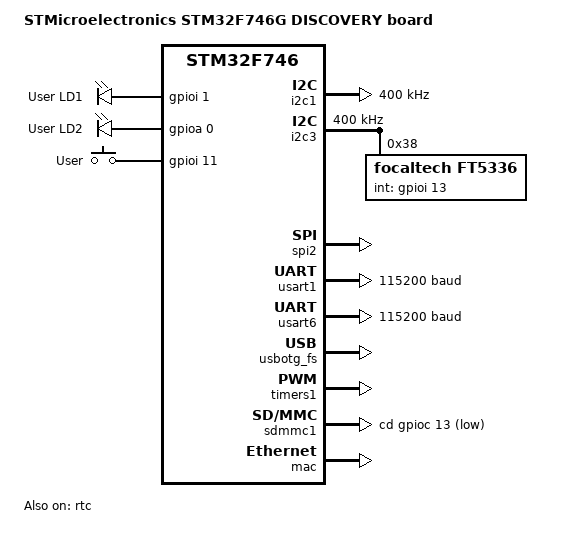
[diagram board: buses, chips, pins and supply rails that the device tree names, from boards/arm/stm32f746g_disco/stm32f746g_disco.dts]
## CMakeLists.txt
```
# SPDX-License-Identifier: Apache-2.0

# set (BOARD nucleo_h743zi)
cmake_minimum_required(VERSION 3.13.1)
find_package(Zephyr HINTS $ENV{ZEPHYR_BASE})
project(cpp_synchronization)

target_sources(app PRIVATE 
    src/main.c
    # src/dhcp.c
)
```

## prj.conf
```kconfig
CONFIG_I2C=y
# CONFIG_NET_IPV6 is not set
CONFIG_GPIO=y
CONFIG_INIT_STACKS=y
CONFIG_CONSOLE=y
CONFIG_UART_CONSOLE=y
CONFIG_PINMUX=y
CONFIG_VIDEO=y
CONFIG_VIDEO_BUFFER_POOL_SZ_MAX=38400
CONFIG_VIDEO_SW_GENERATOR=y
CONFIG_NEWLIB_LIBC=y
CONFIG_CPLUSPLUS=y
CONFIG_STD_CPP17=y
CONFIG_BOOT_TIME_MEASUREMENT=y
CONFIG_STATS=y
CONFIG_NETWORKING=n
CONFIG_NET_HOSTNAME_ENABLE=y
CONFIG_NET_HOSTNAME="zephyr-iwasz"
CONFIG_NET_IPV4=y
# CONFIG_NET_DHCPV4=y
CONFIG_NET_SHELL=y
CONFIG_NET_TCP=y
CONFIG_NET_TCP_AUTO_ACCEPT=y
CONFIG_NET_MGMT=y
CONFIG_NET_MGMT_EVENT=y
CONFIG_NET_LOG=y
# CONFIG_DNS_RESOLVER=y
# CONFIG_MDNS_RESOLVER=y
# CONFIG_DNS_RESOLVER_ADDITIONAL_BUF_CTR=5
# CONFIG_DNS_RESOLVER_ADDITIONAL_QUERIES=2
# CONFIG_DNS_RESOLVER_MAX_SERVERS=2
# CONFIG_DNS_SERVER_IP_ADDRESSES=y
# CONFIG_DNS_SERVER1="8.8.8.8"
# CONFIG_DNS_SERVER2="8.8.4.4"
# CONFIG_DNS_NUM_CONCUR_QUERIES=5
# CONFIG_MQTT_LIB=y
CONFIG_KERNEL_SHELL=y
CONFIG_DEVICE_SHELL=y
CONFIG_TEST_RANDOM_GENERATOR=y
# CONFIG_NET_BUF_RX_COUNT=16
# CONFIG_NET_BUF_TX_COUNT=512
# CONFIG_NET_BUF_DATA_SIZE=128

CONFIG_NET_SOCKETS=y
CONFIG_NET_SOCKETS_POSIX_NAMES=y
CONFIG_NET_CONFIG_SETTINGS=y
CONFIG_NET_CONFIG_MY_IPV4_ADDR="192.168.0.33"
CONFIG_DEBUG_OPTIMIZATIONS=y

#  TODO Try
CONFIG_MAIN_STACK_SIZE=2048
CONFIG_NET_CONTEXT_NET_PKT_POOL=y


# CONFIG_NET_IPV4_LOG_LEVEL_DBG=y
# CONFIG_ETHERNET_LOG_LEVEL_DBG=y
# CONFIG_KERNEL_LOG_LEVEL_DBG=y
# CONFIG_NET_BUF_LOG_LEVEL_DBG=y
# CONFIG_NET_L2_ETHERNET_LOG_LEVEL_DBG=y
# CONFIG_NET_ARP_LOG_LEVEL_DBG=y
# CONFIG_NET_TCP_LOG_LEVEL_DBG=y

# CONFIG_NET_PKT_LOG_LEVEL_DBG=n
# # CONFIG_NET_DEBUG_NET_PKT_ALLOC is not set
# CONFIG_NET_CORE_LOG_LEVEL_DBG=y
# CONFIG_NET_IF_LOG_LEVEL_DBG=y
# CONFIG_NET_CONTEXT_LOG_LEVEL_DBG=y
# CONFIG_NET_CONN_LOG_LEVEL_DBG=y
# CONFIG_NET_ROUTE_LOG_LEVEL_DBG=y

# CONFIG_NET_CONFIG_LOG_LEVEL_DBG=y
# CONFIG_NET_SOCKETS_LOG_LEVEL_DBG=y
```

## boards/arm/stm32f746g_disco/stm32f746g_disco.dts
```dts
/*
 * Copyright (c) 2018 Yurii Hamann
 *
 * SPDX-License-Identifier: Apache-2.0
 */

/dts-v1/;
#include <st/f7/stm32f746Xg.dtsi>
#include "arduino_r3_connector.dtsi"

/ {
	model = "STMicroelectronics STM32F746G DISCOVERY board";
	compatible = "st,stm32f746g-disco", "st,stm32f746";

	chosen {
		zephyr,console = &usart1;
		zephyr,shell-uart = &usart1;
		zephyr,sram = &sram0;
		zephyr,flash = &flash0;
		zephyr,dtcm = &dtcm;
	};

	leds {
		compatible = "gpio-leds";
		
		green_led_1: led_1 {
			gpios = <&gpioi 1 GPIO_ACTIVE_HIGH>;
			label = "User LD1";
		};

		red_led_1: led_2 {
			gpios = <&gpioa 0 GPIO_ACTIVE_HIGH>;
			label = "User LD2";
		};
	};

	gpio_keys {
		compatible = "gpio-keys";
		user_button: button {
			label = "User";
			gpios = <&gpioi 11 GPIO_ACTIVE_HIGH>;
		};
	};

	aliases {
		led0 = &green_led_1;
		sw0 = &user_button;
		kscan0 = &touch_controller;
	};
};

&i2c1 {
	status = "okay";
	clock-frequency = <I2C_BITRATE_FAST>;
};

&i2c3 {
	status = "okay";
	clock-frequency = <I2C_BITRATE_FAST>;

	touch_controller: ft5336@38 {
		compatible = "focaltech,ft5336";
		reg = <0x38>;
		label = "FT5336";
		int-gpios = <&gpioi 13 0>;
	};
};

&spi2 {
	status = "okay";
};

&usart1 {
	current-speed = <115200>;
	status = "okay";
};

&usart6 {
	current-speed = <115200>;
	status = "okay";
};

&usbotg_fs {
	status = "okay";
};

&timers1 {
	status = "okay";

	pwm1: pwm {
		status = "okay";
	};
};

&rtc {
	status = "okay";
};

&sdmmc1 {
	status = "okay";
	cd-gpios = <&gpioc 13 GPIO_ACTIVE_LOW>;
};

&mac {
	status = "okay";
};
```

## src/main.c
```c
#include "config.h"
#include "dhcp.h"
#include <device.h>
#include <devicetree.h>
#include <drivers/gpio.h>
#include <drivers/video.h>
#include <errno.h>
#include <logging/log.h>
#include <net/socket.h>
#include <string.h>
#include <zephyr.h>

LOG_MODULE_REGISTER (main, LOG_LEVEL_DBG);

#define VIDEO_CAPTURE_DEV "VIDEO_SW_GENERATOR"
#define MY_PORT 5000
#define MAX_CLIENT_QUEUE 1

/* The devicetree node identifier for the "led0" alias. */
#define LED0_NODE DT_ALIAS (led0)

#if DT_NODE_HAS_STATUS(LED0_NODE, okay)
#define LED0 DT_GPIO_LABEL (LED0_NODE, gpios)
#define PIN DT_GPIO_PIN (LED0_NODE, gpios)
#define FLAGS DT_GPIO_FLAGS (LED0_NODE, gpios)
#else
/* A build error here means your board isn't set up to blink an LED. */
#error "Unsupported board: led0 devicetree alias is not defined"
#define LED0 ""
#define PIN 0
#define FLAGS 0
#endif

#define GREEN_LED_1_NODE DT_NODELABEL (green_led_1)

#if DT_NODE_HAS_STATUS(GREEN_LED_1_NODE, okay)
#define GREEN_LED_1 DT_GPIO_LABEL (GREEN_LED_1_NODE, gpios)
#define GREEN_LED_1_PIN DT_GPIO_PIN (GREEN_LED_1_NODE, gpios)
#define GREEN_LED_1_FLAGS DT_GPIO_FLAGS (GREEN_LED_1_NODE, gpios)
#else
#error "Unsupported board: green_led_1 devicetree label is not defined"
#define GREEN_LED_1 ""
#define GREEN_LED_1_PIN 0
#define GREEN_LED_1_FLAGS 0
#endif

#define RED_LED_1_NODE DT_NODELABEL (red_led_1)

#if DT_NODE_HAS_STATUS(RED_LED_1_NODE, okay)
#define RED_LED_1 DT_GPIO_LABEL (RED_LED_1_NODE, gpios)
#define RED_LED_1_PIN DT_GPIO_PIN (RED_LED_1_NODE, gpios)
#define RED_LED_1_FLAGS DT_GPIO_FLAGS (RED_LED_1_NODE, gpios)
#else
#error "Unsupported board: red_led_1 devicetree label is not defined"
#define RED_LED_1 ""
#define RED_LED_1_PIN 0
#define RED_LED_1_FLAGS 0
#endif

typedef struct sockaddr_in sockaddr_in_t;

static ssize_t sendall (int sock, const void *buf, size_t len, sockaddr_in_t *address, socklen_t addrLen)
{
        while (len) {
                // ssize_t out_len = send (sock, buf, len, 0);
                ssize_t out_len = sendto (sock, buf, len, 0, (const struct sockaddr *)address, addrLen);

                if (out_len < 0) {
                        LOG_ERR ("sendto error");
                }

                if (out_len < 0) {
                        return out_len;
                }
                buf = (const char *)buf + out_len;
                len -= out_len;
        }

        return 0;
}

void main ()
{
        {
                const struct device *dev = device_get_binding (RED_LED_1);

                if (dev == NULL) {
                        return;
                }

                int ret = gpio_pin_configure (dev, RED_LED_1_PIN, GPIO_OUTPUT_ACTIVE | RED_LED_1_FLAGS);

                if (ret < 0) {
                        return;
                }

                bool led_is_on = true;

                while (1) {
                        gpio_pin_set (dev, RED_LED_1_PIN, (int)led_is_on);
                        led_is_on = !led_is_on;
                        k_msleep (500);
                }
        }

        /********************************************/

        // dhcpInit ();

        // while (!dhcpIsnitializded ()) {
        //         k_sleep (K_MSEC (2000));
        // }

        struct sockaddr_in addr, client_addr;
        socklen_t client_addr_len = sizeof (client_addr);
        struct video_buffer *buffers[2], *vbuf;
        int i, ret, sock;
        struct video_format fmt;

        /* Prepare Network */
        (void)memset (&addr, 0, sizeof (addr));
        addr.sin_family = AF_INET;
        addr.sin_port = htons (MY_PORT);

        sock = socket (AF_INET, SOCK_DGRAM, IPPROTO_UDP);

        if (sock < 0) {
                LOG_ERR ("Failed to create TCP socket: %d", errno);
                return;
        }

        client_addr.sin_family = AF_INET;
        client_addr.sin_port = htons (MY_PORT);
        inet_pton (AF_INET, "192.168.0.29", &client_addr.sin_addr);

        /* Prepare Video Capture */
        const struct device *video = device_get_binding (VIDEO_CAPTURE_DEV);

        if (video == NULL) {
                LOG_ERR ("Video device %s not found. Aborting test.", VIDEO_CAPTURE_DEV);
                return;
        }

        struct video_format vf = {VIDEO_PIX_FMT_RGB565, 160, 80, 160 * 2};
        if (video_set_format (video, VIDEO_EP_OUT, &vf)) {
                LOG_ERR ("Unable to set video format");
                return;
        }

        /* Get default/native format */
        if (video_get_format (video, VIDEO_EP_OUT, &fmt)) {
                LOG_ERR ("Unable to retrieve video format");
                return;
        }

        LOG_INF ("Video device detected, format: %c%c%c%c %ux%u", (char)fmt.pixelformat, (char)(fmt.pixelformat >> 8),
                 (char)(fmt.pixelformat >> 16), (char)(fmt.pixelformat >> 24), fmt.width, fmt.height);

        /* Alloc Buffers */
        for (i = 0; i < ARRAY_SIZE (buffers); i++) {
                buffers[i] = video_buffer_alloc (fmt.pitch * fmt.height);
                if (buffers[i] == NULL) {
                        LOG_ERR ("Unable to alloc video buffer");
                        return;
                }
        }

        /* Connection loop */
        do {
                /* Enqueue Buffers */
                for (i = 0; i < ARRAY_SIZE (buffers); i++) {
                        video_enqueue (video, VIDEO_EP_OUT, buffers[i]);
                }

                /* Start video capture */
                if (video_stream_start (video)) {
                        LOG_ERR ("Unable to start video");
                        return;
                }

                LOG_INF ("Stream started");

                /* Capture loop */
                i = 0;
                do {
                        ret = video_dequeue (video, VIDEO_EP_OUT, &vbuf, K_FOREVER);

                        if (ret) {
                                LOG_ERR ("Unable to dequeue video buf");
                                return;
                        }

                        // LOG_INF ("Sending frame %d", i++);
                        // k_sleep (K_MSEC (100));

                        ret = sendall (sock, vbuf->buffer, vbuf->bytesused, &client_addr, client_addr_len);
                        // static uint8_t buf[4800];

                        // ret = sendall (client, buf, 480); // Random data
                        // k_sleep (K_MSEC (1000));

                        if (ret && ret != -EAGAIN) {
                                /* client disconnected */
                                LOG_INF ("TCP: Client disconnected %d", ret);
                                close (sock);
                        }

                        (void)video_enqueue (video, VIDEO_EP_OUT, vbuf);

                } while (!ret);

                /* stop capture */
                // if (video_stream_stop (video)) {
                //         LOG_ERR ("Unable to stop video");
                //         return;
                // }

                /* Flush remaining buffers */
                // do {
                //         ret = video_dequeue (video, VIDEO_EP_OUT, &vbuf, K_NO_WAIT);
                // } while (!ret);

        } while (1);

        while (true) {
                k_sleep (K_MSEC (200));
        }

        // exit (r);
}
```

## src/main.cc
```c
/*
 * Copyright (c) 2015-2016 Wind River Systems, Inc.
 *
 * Licensed under the Apache License, Version 2.0 (the "License");
 * you may not use this file except in compliance with the License.
 * You may obtain a copy of the License at
 *
 *     http://www.apache.org/licenses/LICENSE-2.0
 *
 * Unless required by applicable law or agreed to in writing, software
 * distributed under the License is distributed on an "AS IS" BASIS,
 * WITHOUT WARRANTIES OR CONDITIONS OF ANY KIND, either express or implied.
 * See the License for the specific language governing permissions and
 * limitations under the License.
 */

/**
 * @file C++ Synchronization demo.  Uses basic C++ functionality.
 */

#include <arch/cpu.h>
#include <cstdio>
#include <logging/log.h>
#include <shell/shell.h>
#include <shell/shell_uart.h>
// #include <stdio.h>
#include <sys/printk.h>
#include <version.h>
#include <zephyr.h>

// Loger module instantiation.
LOG_MODULE_REGISTER (main);

/****************************************************************************/

extern void foo ();

void timer_expired_handler (struct k_timer *timer)
{
        LOG_INF ("Timer expired.");

        /* Call another module to present logging from multiple sources. */
        // foo ();
}

K_TIMER_DEFINE (log_timer, timer_expired_handler, NULL);

static int cmd_log_test_start (const struct shell *shell, size_t argc, char **argv, u32_t period)
{
        ARG_UNUSED (argv);

        k_timer_start (&log_timer, K_MSEC (period), K_MSEC (period));
        shell_print (shell, "Log test started\n");

        return 0;
}

static int cmd_log_test_start_demo (const struct shell *shell, size_t argc, char **argv) { return cmd_log_test_start (shell, argc, argv, 200); }

static int cmd_log_test_start_flood (const struct shell *shell, size_t argc, char **argv) { return cmd_log_test_start (shell, argc, argv, 10); }

static int cmd_log_test_stop (const struct shell *shell, size_t argc, char **argv)
{
        ARG_UNUSED (argc);
        ARG_UNUSED (argv);

        k_timer_stop (&log_timer);
        shell_print (shell, "Log test stopped");

        return 0;
}

SHELL_STATIC_SUBCMD_SET_CREATE (
        sub_log_test_start,
        SHELL_CMD_ARG (demo, NULL, "Start log timer which generates log message every 200ms.", cmd_log_test_start_demo, 1, 0),
        SHELL_CMD_ARG (flood, NULL, "Start log timer which generates log message every 10ms.", cmd_log_test_start_flood, 1, 0),
        SHELL_SUBCMD_SET_END /* Array terminated. */
);
SHELL_STATIC_SUBCMD_SET_CREATE (sub_log_test, SHELL_CMD_ARG (start, &sub_log_test_start, "Start log test", NULL, 2, 0),
                                SHELL_CMD_ARG (stop, NULL, "Stop log test.", cmd_log_test_stop, 1, 0),
                                SHELL_SUBCMD_SET_END /* Array terminated. */
);

SHELL_CMD_REGISTER (log_test, &sub_log_test, "Log test", NULL);

static int cmd_demo_ping (const struct shell *shell, size_t argc, char **argv)
{
        ARG_UNUSED (argc);
        ARG_UNUSED (argv);

        shell_print (shell, "pong");

        return 0;
}

static int cmd_demo_params (const struct shell *shell, size_t argc, char **argv)
{
        shell_print (shell, "argc = %d", argc);
        for (size_t cnt = 0; cnt < argc; cnt++) {
                shell_print (shell, "  argv[%d] = %s", cnt, argv[cnt]);
        }

        return 0;
}

static int cmd_version (const struct shell *shell, size_t argc, char **argv)
{
        ARG_UNUSED (argc);
        ARG_UNUSED (argv);

        shell_print (shell, "Zephyr version %s", KERNEL_VERSION_STRING);

        return 0;
}

SHELL_STATIC_SUBCMD_SET_CREATE (sub_demo, SHELL_CMD (params, NULL, "Print params command.", cmd_demo_params),
                                SHELL_CMD (ping, NULL, "Ping command.", cmd_demo_ping), SHELL_SUBCMD_SET_END /* Array terminated. */
);

SHELL_CMD_REGISTER (demo, &sub_demo, "Demo commands", NULL);

SHELL_CMD_ARG_REGISTER (version, NULL, "Show kernel version", cmd_version, 1, 0);

/****************************************************************************/

/**
 * @class semaphore the basic pure virtual semaphore class
 */
class semaphore {
public:
        virtual int wait () = 0;
        virtual int wait (int timeout) = 0;
        virtual void give () = 0;
};

/* specify delay between greetings (in ms); compute equivalent in ticks */
constexpr size_t SLEEPTIME = 500;
constexpr size_t STACKSIZE = 2000;

k_thread coop_thread;
K_THREAD_STACK_DEFINE (coop_stack, STACKSIZE);

/*
 * @class cpp_semaphore
 * @brief Semaphore
 *
 * Class derives from the pure virtual semaphore class and
 * implements it's methods for the semaphore
 */
class cpp_semaphore : public semaphore {
private:
        k_sem _sema_internal{};

public:
        cpp_semaphore ();
        virtual ~cpp_semaphore () = default;
        int wait () override;
        int wait (int timeout) override;
        void give () override;
};

/*
 * @brief cpp_semaphore basic constructor
 */
cpp_semaphore::cpp_semaphore ()
{
        printk ("Create semaphore %p\n", this);
        k_sem_init (&_sema_internal, 0, UINT_MAX);
}

/*
 * @brief wait for a semaphore
 *
 * Test a semaphore to see if it has been signaled.  If the signal
 * count is greater than zero, it is decremented.
 *
 * @return 1 when semaphore is available
 */
int cpp_semaphore::wait ()
{
        k_sem_take (&_sema_internal, K_FOREVER);
        return 1;
}

/*
 * @brief wait for a semaphore within a specified timeout
 *
 * Test a semaphore to see if it has been signaled.  If the signal
 * count is greater than zero, it is decremented. The function
 * waits for timeout specified
 *
 * @param timeout the specified timeout in ticks
 *
 * @return 1 if semaphore is available, 0 if timed out
 */
int cpp_semaphore::wait (int timeout) { return k_sem_take (&_sema_internal, K_MSEC (timeout)); }

/**
 *
 * @brief Signal a semaphore
 *
 * This routine signals the specified semaphore.
 *
 * @return N/A
 */
void cpp_semaphore::give () { k_sem_give (&_sema_internal); }

cpp_semaphore sem_main;
cpp_semaphore sem_coop;

void coop_thread_entry ()
{
        k_timer timer{};

        k_timer_init (&timer, nullptr, nullptr);

        while (true) {
                /* wait for main thread to let us have a turn */
                sem_coop.wait ();

                /* say "hello" */
                // printk ("%s: Hello World!\n", __FUNCTION__);
                // LOG_ERR ("%s: Hello World!", __FUNCTION__);

                /* wait a while, then let main thread have a turn */
                k_timer_start (&timer, K_MSEC (SLEEPTIME), K_NO_WAIT);
                k_timer_status_sync (&timer);
                sem_main.give ();
        }
}

/****************************************************************************/

void main ()
{
        k_timer timer{};

        k_thread_create (&coop_thread, coop_stack, STACKSIZE, (k_thread_entry_t)coop_thread_entry, nullptr, nullptr, nullptr, K_PRIO_COOP (7), 0,
                         K_NO_WAIT);

        k_timer_init (&timer, nullptr, nullptr);

        while (true) {
                /* say "hello" */
                // printk ("%s: Hello World!\n", __FUNCTION__);
                // LOG_WRN ("%s: Hello World!", __FUNCTION__);

                /* wait a while, then let coop thread have a turn */
                k_timer_start (&timer, K_MSEC (SLEEPTIME), K_NO_WAIT);
                k_timer_status_sync (&timer);
                sem_coop.give ();

                /* Wait for coop thread to let us have a turn */
                sem_main.wait ();
        }
}
```

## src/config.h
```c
/*
 * Copyright (c) 2017 Intel Corporation
 *
 * SPDX-License-Identifier: Apache-2.0
 */

#ifndef __CONFIG_H__
#define __CONFIG_H__

// #define ZEPHYR_ADDR "192.168.1.101"
#define SERVER_ADDR "192.168.0.29"
#define SERVER_PORT 1883

#define APP_SLEEP_MSECS 500
#define APP_TX_RX_TIMEOUT 300
#define APP_NET_INIT_TIMEOUT 10000

#define APP_CONNECT_TRIES 10

#define APP_MQTT_BUFFER_SIZE 128

#define MQTT_CLIENTID "zephyr_publisher"

/* Set the following to 1 to enable the Bluemix topic format */
#define APP_BLUEMIX_TOPIC 0

/* These are the parameters for the Bluemix topic format */
#if APP_BLUEMIX_TOPIC
#define BLUEMIX_DEVTYPE "sensor"
#define BLUEMIX_DEVID "carbon"
#define BLUEMIX_EVENT "status"
#define BLUEMIX_FORMAT "json"
#endif

#define CONFIG_NET_SAMPLE_APP_MAX_ITERATIONS 5
#define CONFIG_NET_SAMPLE_APP_MAX_CONNECTIONS 1

#endif
```

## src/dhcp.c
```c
/* Networking DHCPv4 client */

/*
 * Copyright (c) 2017 ARM Ltd.
 * Copyright (c) 2016 Intel Corporation.
 *
 * SPDX-License-Identifier: Apache-2.0
 */

#include <logging/log.h>
LOG_MODULE_REGISTER (dhcp, LOG_LEVEL_DBG);

#include <errno.h>
#include <linker/sections.h>
#include <stdio.h>
#include <zephyr.h>

#include <net/net_context.h>
#include <net/net_core.h>
#include <net/net_if.h>
#include <net/net_mgmt.h>

static struct net_mgmt_event_callback mgmt_cb;
static int initialized = 0; // TODO ugly

static void handler (struct net_mgmt_event_callback *cb, u32_t mgmt_event, struct net_if *iface)
{
        int i = 0;

        if (mgmt_event != NET_EVENT_IPV4_ADDR_ADD) {
                return;
        }

        for (i = 0; i < NET_IF_MAX_IPV4_ADDR; i++) {
                char buf[NET_IPV4_ADDR_LEN];

                if (iface->config.ip.ipv4->unicast[i].addr_type != NET_ADDR_DHCP) {
                        continue;
                }

                LOG_INF ("Your address: %s",
                         log_strdup (net_addr_ntop (AF_INET, &iface->config.ip.ipv4->unicast[i].address.in_addr, buf, sizeof (buf))));
                LOG_INF ("Lease time: %u seconds", iface->config.dhcpv4.lease_time);
                LOG_INF ("Subnet: %s", log_strdup (net_addr_ntop (AF_INET, &iface->config.ip.ipv4->netmask, buf, sizeof (buf))));
                LOG_INF ("Router: %s", log_strdup (net_addr_ntop (AF_INET, &iface->config.ip.ipv4->gw, buf, sizeof (buf))));
        }

        initialized = true;
}

int dhcpIsnitializded () { return initialized; }

void dhcpInit ()
{
        struct net_if *iface;

        LOG_INF ("Run dhcpv4 client");

        net_mgmt_init_event_callback (&mgmt_cb, handler, NET_EVENT_IPV4_ADDR_ADD);
        net_mgmt_add_event_callback (&mgmt_cb);

        iface = net_if_get_default ();

        net_dhcpv4_start (iface);
}
```

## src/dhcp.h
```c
#pragma once

int dhcpIsnitializded ();
void dhcpInit ();
```

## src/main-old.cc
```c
/*
 * Copyright (c) 2015-2016 Wind River Systems, Inc.
 *
 * Licensed under the Apache License, Version 2.0 (the "License");
 * you may not use this file except in compliance with the License.
 * You may obtain a copy of the License at
 *
 *     http://www.apache.org/licenses/LICENSE-2.0
 *
 * Unless required by applicable law or agreed to in writing, software
 * distributed under the License is distributed on an "AS IS" BASIS,
 * WITHOUT WARRANTIES OR CONDITIONS OF ANY KIND, either express or implied.
 * See the License for the specific language governing permissions and
 * limitations under the License.
 */

/**
 * @file C++ Synchronization demo.  Uses basic C++ functionality.
 */

#include <arch/cpu.h>
#include <cstdio>
#include <logging/log.h>
#include <shell/shell.h>
#include <shell/shell_uart.h>
#include <sys/printk.h>
#include <version.h>
#include <zephyr.h>

// Loger module instantiation.
LOG_MODULE_REGISTER (main);

/****************************************************************************/

extern void foo ();

void timer_expired_handler (struct k_timer *timer)
{
        LOG_INF ("Timer expired.");

        /* Call another module to present logging from multiple sources. */
        // foo ();
}

K_TIMER_DEFINE (log_timer, timer_expired_handler, NULL);

static int cmd_log_test_start (const struct shell *shell, size_t argc, char **argv, u32_t period)
{
        ARG_UNUSED (argv);

        k_timer_start (&log_timer, K_MSEC (period), K_MSEC (period));
        shell_print (shell, "Log test started\n");

        return 0;
}

static int cmd_log_test_start_demo (const struct shell *shell, size_t argc, char **argv) { return cmd_log_test_start (shell, argc, argv, 200); }

static int cmd_log_test_start_flood (const struct shell *shell, size_t argc, char **argv) { return cmd_log_test_start (shell, argc, argv, 10); }

static int cmd_log_test_stop (const struct shell *shell, size_t argc, char **argv)
{
        ARG_UNUSED (argc);
        ARG_UNUSED (argv);

        k_timer_stop (&log_timer);
        shell_print (shell, "Log test stopped");

        return 0;
}

SHELL_STATIC_SUBCMD_SET_CREATE (
        sub_log_test_start,
        SHELL_CMD_ARG (demo, NULL, "Start log timer which generates log message every 200ms.", cmd_log_test_start_demo, 1, 0),
        SHELL_CMD_ARG (flood, NULL, "Start log timer which generates log message every 10ms.", cmd_log_test_start_flood, 1, 0),
        SHELL_SUBCMD_SET_END /* Array terminated. */
);
SHELL_STATIC_SUBCMD_SET_CREATE (sub_log_test, SHELL_CMD_ARG (start, &sub_log_test_start, "Start log test", NULL, 2, 0),
                                SHELL_CMD_ARG (stop, NULL, "Stop log test.", cmd_log_test_stop, 1, 0),
                                SHELL_SUBCMD_SET_END /* Array terminated. */
);

SHELL_CMD_REGISTER (log_test, &sub_log_test, "Log test", NULL);

static int cmd_demo_ping (const struct shell *shell, size_t argc, char **argv)
{
        ARG_UNUSED (argc);
        ARG_UNUSED (argv);

        shell_print (shell, "pong");

        return 0;
}

static int cmd_demo_params (const struct shell *shell, size_t argc, char **argv)
{
        shell_print (shell, "argc = %d", argc);
        for (size_t cnt = 0; cnt < argc; cnt++) {
                shell_print (shell, "  argv[%d] = %s", cnt, argv[cnt]);
        }

        return 0;
}

static int cmd_version (const struct shell *shell, size_t argc, char **argv)
{
        ARG_UNUSED (argc);
        ARG_UNUSED (argv);

        shell_print (shell, "Zephyr version %s", KERNEL_VERSION_STRING);

        return 0;
}

SHELL_STATIC_SUBCMD_SET_CREATE (sub_demo, SHELL_CMD (params, NULL, "Print params command.", cmd_demo_params),
                                SHELL_CMD (ping, NULL, "Ping command.", cmd_demo_ping), SHELL_SUBCMD_SET_END /* Array terminated. */
);

SHELL_CMD_REGISTER (demo, &sub_demo, "Demo commands", NULL);

SHELL_CMD_ARG_REGISTER (version, NULL, "Show kernel version", cmd_version, 1, 0);

/****************************************************************************/

/**
 * @class semaphore the basic pure virtual semaphore class
 */
class semaphore {
public:
        virtual int wait () = 0;
        virtual int wait (int timeout) = 0;
        virtual void give () = 0;
};

/* specify delay between greetings (in ms); compute equivalent in ticks */
constexpr size_t SLEEPTIME = 500;
constexpr size_t STACKSIZE = 2000;

k_thread coop_thread;
K_THREAD_STACK_DEFINE (coop_stack, STACKSIZE);

/*
 * @class cpp_semaphore
 * @brief Semaphore
 *
 * Class derives from the pure virtual semaphore class and
 * implements it's methods for the semaphore
 */
class cpp_semaphore : public semaphore {
private:
        k_sem _sema_internal{};

public:
        cpp_semaphore ();
        virtual ~cpp_semaphore () = default;
        int wait () override;
        int wait (int timeout) override;
        void give () override;
};

/*
 * @brief cpp_semaphore basic constructor
 */
cpp_semaphore::cpp_semaphore ()
{
        printk ("Create semaphore %p\n", this);
        k_sem_init (&_sema_internal, 0, UINT_MAX);
}

/*
 * @brief wait for a semaphore
 *
 * Test a semaphore to see if it has been signaled.  If the signal
 * count is greater than zero, it is decremented.
 *
 * @return 1 when semaphore is available
 */
int cpp_semaphore::wait ()
{
        k_sem_take (&_sema_internal, K_FOREVER);
        return 1;
}

/*
 * @brief wait for a semaphore within a specified timeout
 *
 * Test a semaphore to see if it has been signaled.  If the signal
 * count is greater than zero, it is decremented. The function
 * waits for timeout specified
 *
 * @param timeout the specified timeout in ticks
 *
 * @return 1 if semaphore is available, 0 if timed out
 */
int cpp_semaphore::wait (int timeout) { return k_sem_take (&_sema_internal, K_MSEC (timeout)); }

/**
 *
 * @brief Signal a semaphore
 *
 * This routine signals the specified semaphore.
 *
 * @return N/A
 */
void cpp_semaphore::give () { k_sem_give (&_sema_internal); }

cpp_semaphore sem_main;
cpp_semaphore sem_coop;

void coop_thread_entry ()
{
        k_timer timer{};

        k_timer_init (&timer, nullptr, nullptr);

        while (true) {
                /* wait for main thread to let us have a turn */
                sem_coop.wait ();

                /* say "hello" */
                // printk ("%s: Hello World!\n", __FUNCTION__);
                // LOG_ERR ("%s: Hello World!", __FUNCTION__);

                /* wait a while, then let main thread have a turn */
                k_timer_start (&timer, K_MSEC (SLEEPTIME), K_NO_WAIT);
                k_timer_status_sync (&timer);
                sem_main.give ();
        }
}

/****************************************************************************/

void main ()
{
        k_timer timer{};

        k_thread_create (&coop_thread, coop_stack, STACKSIZE, (k_thread_entry_t)coop_thread_entry, nullptr, nullptr, nullptr, K_PRIO_COOP (7), 0,
                         K_NO_WAIT);

        k_timer_init (&timer, nullptr, nullptr);

        while (true) {
                /* say "hello" */
                // printk ("%s: Hello World!\n", __FUNCTION__);
                // LOG_WRN ("%s: Hello World!", __FUNCTION__);

                /* wait a while, then let coop thread have a turn */
                k_timer_start (&timer, K_MSEC (SLEEPTIME), K_NO_WAIT);
                k_timer_status_sync (&timer);
                sem_coop.give ();

                /* Wait for coop thread to let us have a turn */
                sem_main.wait ();
        }
}
```
